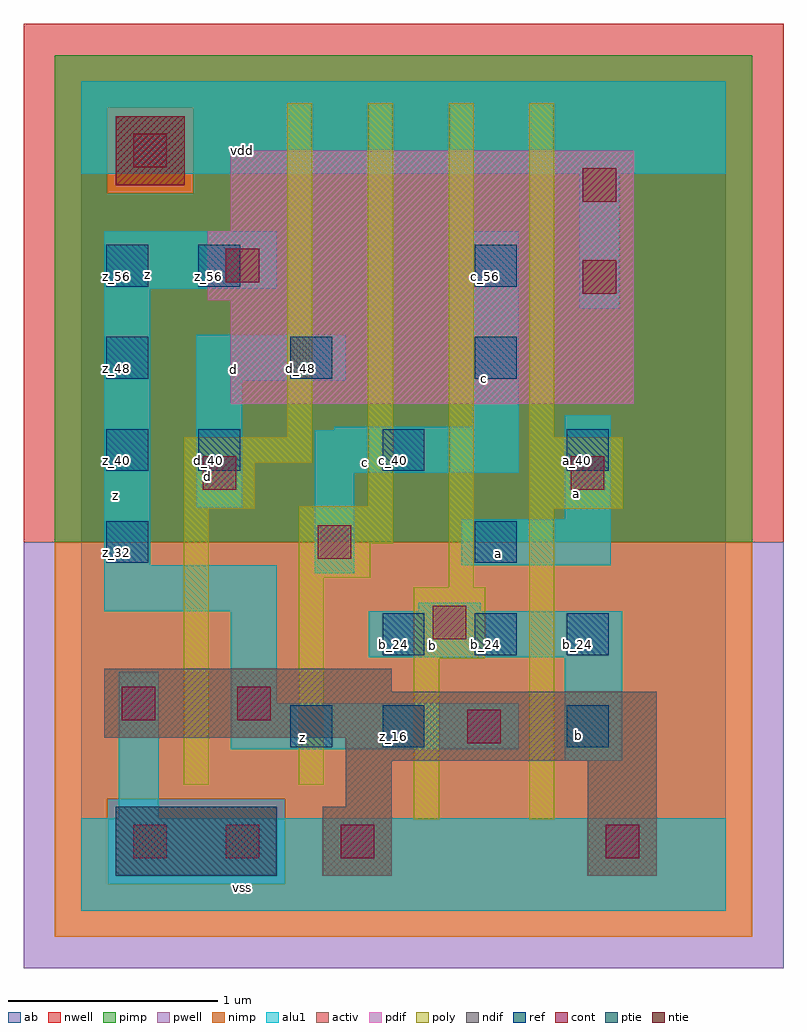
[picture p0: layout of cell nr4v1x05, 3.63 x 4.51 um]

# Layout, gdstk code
import gdstk
lib = gdstk.Library(unit=1e-6, precision=2.5e-09)
def R(c, l, rs):  # rectangles x0, y0, x1, y1
    for r in rs: c.add(gdstk.rectangle(r[:2], r[2:], *l))
def A(c, l, x, y, w, h, nx, ny, dx, dy):  # array of equal rectangles
    R(c, l, [(x+i*dx, y+j*dy, x+i*dx+w, y+j*dy+h) for i in range(nx) for j in range(ny)])
ndif = (3, 0)
pdif = (4, 0)
ntie = (5, 0)
ptie = (6, 0)
ref = (24, 0)
cont = (25, 0)
pwell = (41, 0)
nwell = (42, 0)
activ = (43, 0)
pimp = (44, 0)
nimp = (45, 0)
poly = (46, 0)
alu1 = (49, 0)
ab = (63, 0)

nr4v1x05 = lib.new_cell('nr4v1x05')
R(nr4v1x05, ndif, [(1.155,0.165,1.485,0.495), (2.42,0.165,2.75,0.715), (1.265,0.495,1.485,0.715), (1.265,0.715,2.75,0.825), (0.11,0.825,2.75,1.045), (0.11,1.045,1.485,1.155)])
R(nr4v1x05, pdif, [(0.715,2.42,2.64,2.915), (0.605,2.915,2.64,3.245), (0.715,3.245,2.64,3.63)])
R(nr4v1x05, ntie, [(0.165,3.465,0.495,3.795)])
R(nr4v1x05, ptie, [(0.165,0.165,0.935,0.495)])
A(nr4v1x05, ref, 1.44, 1.22, 0.2, 0.2, 3, 1, 0.44, 0)
A(nr4v1x05, ref, 0.56, 2.1, 0.2, 0.2, 3, 1, 0.88, 0)
A(nr4v1x05, ref, 0.12, 2.54, 0.2, 0.2, 3, 1, 0.88, 0)
R(nr4v1x05, ref, [(1,0.78,1.2,0.98), (1.44,0.78,1.64,0.98), (2.32,0.78,2.52,0.98), (0.12,1.66,0.32,1.86), (1.88,1.66,2.08,1.86), (0.12,2.1,0.32,2.3), (0.12,2.98,0.32,3.18), (0.56,2.98,0.76,3.18), (1.88,2.98,2.08,3.18)])
R(nr4v1x05, cont, [(0.25,0.25,0.41,0.41), (0.69,0.25,0.85,0.41), (1.24,0.25,1.4,0.41), (2.505,0.25,2.665,0.41), (1.845,0.8,2.005,0.96), (0.195,0.91,0.355,1.07), (0.745,0.91,0.905,1.07), (1.68,1.295,1.84,1.455), (1.13,1.68,1.29,1.84), (0.58,2.01,0.74,2.17), (2.34,2.01,2.5,2.17), (2.395,2.945,2.555,3.105), (0.69,3,0.85,3.16), (2.395,3.385,2.555,3.545), (0.25,3.55,0.41,3.71)])
R(nr4v1x05, pwell, [(-0.275,-0.275,3.355,1.76)])
R(nr4v1x05, nwell, [(-0.275,1.76,3.355,4.235)])
R(nr4v1x05, activ, [(0.165,0.165,0.935,0.495), (1.155,0.165,1.485,0.495), (2.42,0.165,2.75,0.715), (1.265,0.495,1.485,0.715), (1.265,0.715,2.75,0.825), (0.11,0.825,2.75,1.045), (0.11,1.045,1.485,1.155), (0.715,2.42,2.64,2.915), (0.605,2.915,2.64,3.245), (0.715,3.245,2.64,3.63), (0.165,3.465,0.495,3.795)])
R(nr4v1x05, pimp, [(0.125,0.125,0.975,0.535), (-0.125,1.76,3.205,3.425), (-0.125,3.425,0.125,3.835), (0.535,3.425,3.205,3.835), (-0.125,3.835,3.205,4.085)])
R(nr4v1x05, nimp, [(-0.125,-0.125,3.205,0.125), (-0.125,0.125,0.125,0.535), (0.975,0.125,3.205,0.535), (-0.125,0.535,3.205,1.76), (0.125,3.425,0.535,3.835)])
R(nr4v1x05, poly, [(1.59,0.435,1.71,1.205), (2.14,0.435,2.26,1.92), (0.49,0.6,0.61,1.92), (1.04,0.6,1.16,1.59), (1.59,1.205,1.93,1.545), (1.755,1.545,1.875,3.855), (1.04,1.59,1.38,1.755), (1.04,1.755,1.49,1.93), (0.49,1.92,0.83,2.14), (2.14,1.92,2.59,2.26), (1.37,1.93,1.49,3.855), (0.49,2.14,1.105,2.26), (0.985,2.26,1.105,3.855), (2.14,2.26,2.26,3.855)])
R(nr4v1x05, alu1, [(0,0,3.08,0.44), (0.18,0.44,0.37,1.14), (2.31,0.715,2.585,1.21), (0.715,0.77,2.09,0.99), (0.715,0.99,0.935,1.43), (1.375,1.21,2.585,1.43), (0.11,1.43,0.935,1.65), (1.61,1.43,1.91,1.47), (1.115,1.61,1.305,2.09), (0.11,1.65,0.33,2.97), (1.815,1.65,2.53,1.87), (2.31,1.87,2.53,2.365), (0.55,1.925,0.77,2.53), (1.115,2.09,2.09,2.295), (1.21,2.295,2.09,2.31), (1.87,2.31,2.09,3.245), (0.55,2.53,1.265,2.75), (2.38,2.875,2.57,3.52), (0.11,2.97,0.935,3.245), (0,3.52,3.08,3.96)])
R(nr4v1x05, ab, [(0,0,3.08,3.96)])
nr4v1x05.add(gdstk.Label('vss', (0.77,0.11), layer=49, texttype=0))
nr4v1x05.add(gdstk.Label('b', (2.3775,0.8375), layer=49, texttype=0))
nr4v1x05.add(gdstk.Label('z', (1.0575,0.825), layer=49, texttype=0))
nr4v1x05.add(gdstk.Label('b', (1.6775,1.265), layer=49, texttype=0))
nr4v1x05.add(gdstk.Label('a', (1.9925,1.705), layer=49, texttype=0))
nr4v1x05.add(gdstk.Label('a', (2.365,1.9925), layer=49, texttype=0))
nr4v1x05.add(gdstk.Label('c', (1.3575,2.14), layer=49, texttype=0))
nr4v1x05.add(gdstk.Label('c', (1.925,2.5425), layer=49, texttype=0))
nr4v1x05.add(gdstk.Label('d', (0.605,2.075), layer=49, texttype=0))
nr4v1x05.add(gdstk.Label('d', (0.7275,2.585), layer=49, texttype=0))
nr4v1x05.add(gdstk.Label('z', (0.165,1.98), layer=49, texttype=0))
nr4v1x05.add(gdstk.Label('z', (0.315,3.0375), layer=49, texttype=0))
nr4v1x05.add(gdstk.Label('vdd', (0.77,3.63), layer=49, texttype=0))
nr4v1x05.add(gdstk.Label('d_40', (0.61,2.15), layer=24, texttype=0))
nr4v1x05.add(gdstk.Label('z_56', (0.61,3.03), layer=24, texttype=0))
nr4v1x05.add(gdstk.Label('z_16', (1.05,0.83), layer=24, texttype=0))
nr4v1x05.add(gdstk.Label('d_48', (1.05,2.59), layer=24, texttype=0))
nr4v1x05.add(gdstk.Label('z_16', (1.49,0.83), layer=24, texttype=0))
nr4v1x05.add(gdstk.Label('b_24', (1.49,1.27), layer=24, texttype=0))
nr4v1x05.add(gdstk.Label('c_40', (1.49,2.15), layer=24, texttype=0))
nr4v1x05.add(gdstk.Label('b_24', (1.93,1.27), layer=24, texttype=0))
nr4v1x05.add(gdstk.Label('a_32', (1.93,1.71), layer=24, texttype=0))
nr4v1x05.add(gdstk.Label('c_48', (1.93,2.59), layer=24, texttype=0))
nr4v1x05.add(gdstk.Label('c_56', (1.93,3.03), layer=24, texttype=0))
nr4v1x05.add(gdstk.Label('z_32', (0.17,1.71), layer=24, texttype=0))
nr4v1x05.add(gdstk.Label('z_40', (0.17,2.15), layer=24, texttype=0))
nr4v1x05.add(gdstk.Label('z_48', (0.17,2.59), layer=24, texttype=0))
nr4v1x05.add(gdstk.Label('z_56', (0.17,3.03), layer=24, texttype=0))
nr4v1x05.add(gdstk.Label('b_16', (2.37,0.83), layer=24, texttype=0))
nr4v1x05.add(gdstk.Label('b_24', (2.37,1.27), layer=24, texttype=0))
nr4v1x05.add(gdstk.Label('a_40', (2.37,2.15), layer=24, texttype=0))

lib.write_gds('nr4v1x05.gds')
